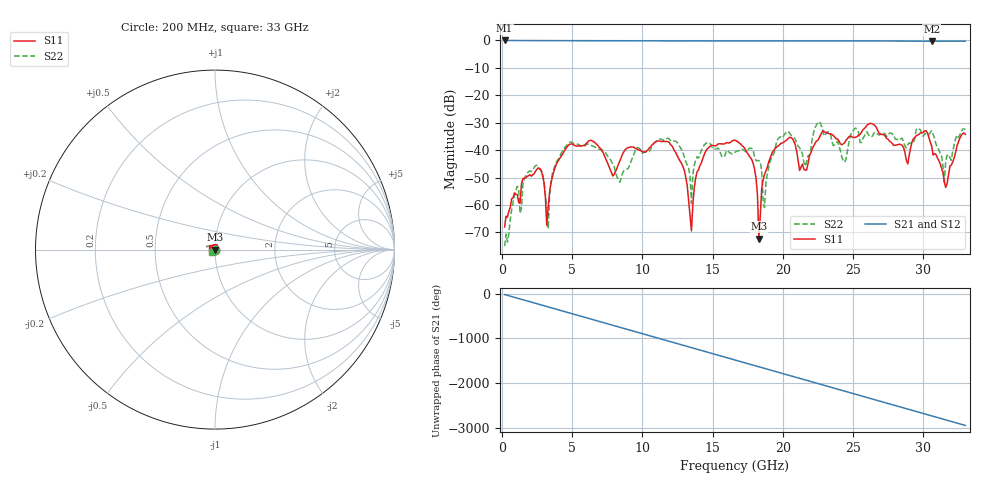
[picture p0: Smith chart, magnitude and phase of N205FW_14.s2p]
# GHZ S RI R 50
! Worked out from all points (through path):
!   329 points, 200 MHz to 33 GHz, reference 50 ohm
!   highest |S21| = -0.02 dB at 200 MHz (marker M1); lowest = -0.3 dB at 30.6 GHz (marker M2)
!   group delay of S21, straight-line fit = 248 ps
!   lowest |S11| = -72.2 dB at 18.3 GHz (marker M3), VSWR 1.00, Z = 50 - j0.00898 ohm
!   |S11| at or under -10 dB: start of sweep to end of sweep
!   |S22| runs from -75.0 to -29.6 dB; largest |S21 - S12| = 0.0022
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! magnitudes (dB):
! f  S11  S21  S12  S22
! 200 MHz  -68.0  0.0  0.0  -75.0
! 1.9 GHz  -49.4  -0.1  -0.1  -47.8
! 2.9 GHz  -49.2  -0.1  -0.1  -48.6
! 3.3 GHz  -60.8  -0.1  -0.1  -68.7
! 3.9 GHz  -44.9  -0.1  -0.1  -44.2
! 5.7 GHz  -38.4  -0.1  -0.1  -38.7
! 8.4 GHz  -44.0  -0.1  -0.1  -51.7
! 11.2 GHz  -36.7  -0.2  -0.2  -36.0
! 13 GHz  -47.5  -0.2  -0.2  -42.6
! 13.5 GHz  -69.4  -0.2  -0.2  -59.3
! 13.8 GHz  -50.2  -0.2  -0.2  -43.6
! 14.5 GHz  -40.6  -0.1  -0.1  -37.7
! 16.6 GHz  -36.3  -0.1  -0.1  -40.8
! 18 GHz  -47.1  -0.2  -0.2  -42.7
! 18.3 GHz  -72.2  -0.2  -0.2  -43.8
! 18.7 GHz  -48.9  -0.2  -0.2  -60.9
! 19.3 GHz  -40.4  -0.2  -0.2  -41.8
! 22.1 GHz  -39.5  -0.2  -0.2  -35.6
! 27.6 GHz  -36.7  -0.2  -0.2  -33.7
! 30.6 GHz  -38.4  -0.3  -0.3  -32.9
! 31.5 GHz  -51.7  -0.3  -0.3  -51.6
! 33 GHz  -34.2  -0.3  -0.3  -32.5
